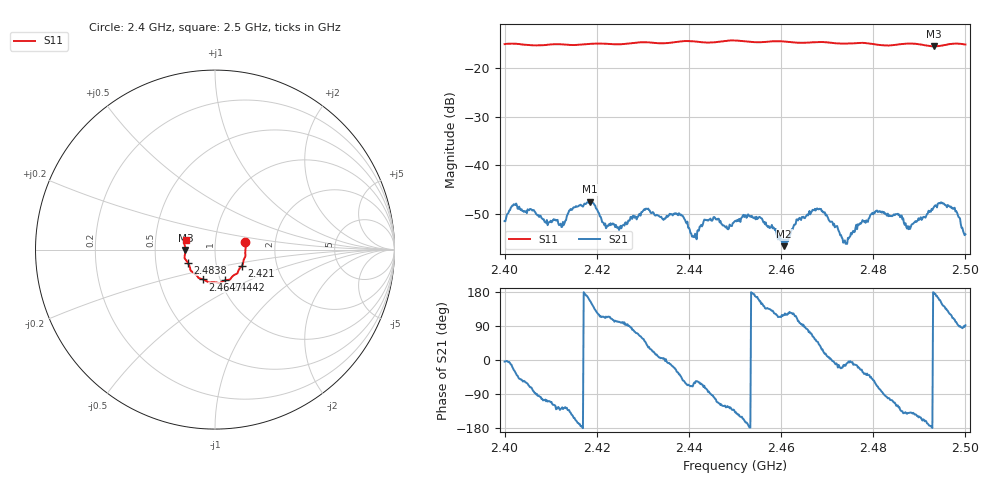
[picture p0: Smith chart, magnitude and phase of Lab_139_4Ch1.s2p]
# Hz S RI R 50
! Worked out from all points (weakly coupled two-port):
!   601 points, 2.4 GHz to 2.5 GHz, reference 50 ohm
!   highest |S21| = -47.37 dB at 2.4185 GHz (marker M1); lowest = -56.5 dB at 2.4607 GHz (marker M2)
!   lowest |S11| = -15.7 dB at 2.4932 GHz (marker M3), VSWR 1.39, Z = 35.8 - j0.122 ohm
!   |S11| at or under -10 dB: start of sweep to end of sweep
!   S12 and S22 are empty: the file has one direction only
!   S11 on the Smith chart (normalised r, x): 2.4 GHz: 1.40, +0.12; 2.421 GHz: 1.33, -0.24; 2.4442 GHz: 1.05, -0.37; 2.4647 GHz: 0.83, -0.28; 2.4838 GHz: 0.73, -0.11; 2.5 GHz: 0.71, +0.08
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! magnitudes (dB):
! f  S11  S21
! 2.4 GHz  -15.2  -51.4
! 2.4022 GHz  -15.1  -48.0
! 2.4123 GHz  -15.2  -52.6
! 2.4167 GHz  -15.3  -48.2
! 2.4185 GHz  -15.2  -47.4
! 2.421 GHz  -15.1  -50.9
! 2.4333 GHz  -15.0  -50.2
! 2.4383 GHz  -14.6  -50.1
! 2.4412 GHz  -14.7  -54.7
! 2.4442 GHz  -14.9  -51.3
! 2.45 GHz  -14.5  -51.4
! 2.4555 GHz  -14.8  -50.7
! 2.4607 GHz  -14.7  -56.5
! 2.4647 GHz  -14.9  -50.6
! 2.4667 GHz  -14.8  -49.4
! 2.4738 GHz  -15.1  -55.3
! 2.4833 GHz  -15.5  -50.4
! 2.4838 GHz  -15.5  -50.3
! 2.4877 GHz  -15.1  -53.0
! 2.4932 GHz  -15.7  -48.5
! 2.4977 GHz  -15.1  -48.6
! 2.5 GHz  -15.3  -54.1
